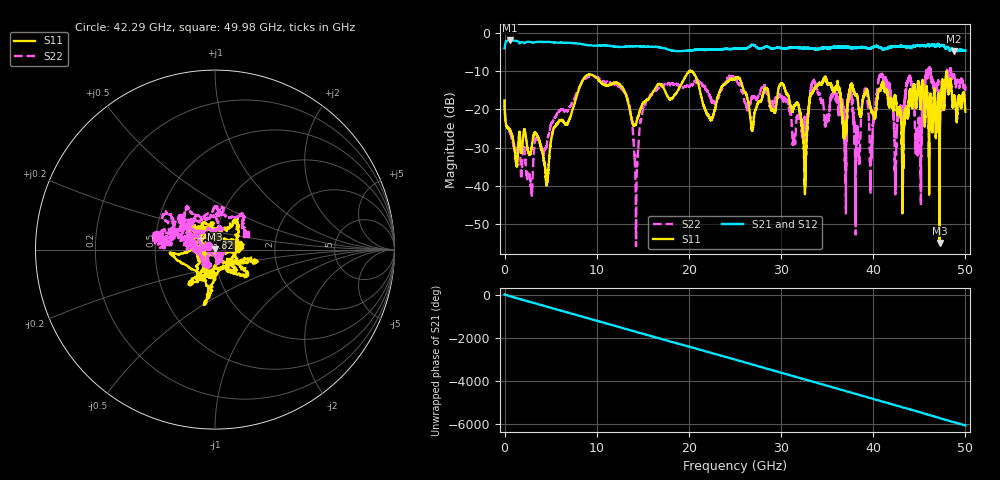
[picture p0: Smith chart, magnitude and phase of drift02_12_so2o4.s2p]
!Created with skrf (http://scikit-rf.org).
# Hz S RI R 50.0
!freq ReS11 ImS11 ReS21 ImS21 ReS12 ImS12 ReS22 ImS22
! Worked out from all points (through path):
!   10001 points, 300 kHz to 50 GHz, reference 50 ohm
!   highest |S21| = -1.99 dB at 540.3 MHz (marker M1); lowest = -4.9 dB at 48.77 GHz (marker M2)
!   group delay of S21, straight-line fit = 337 ps
!   lowest |S11| = -54.8 dB at 47.2 GHz (marker M3), VSWR 1.00, Z = 49.9 + j0.154 ohm
!   |S11| at or under -10 dB: start of sweep to 20.06 GHz; 20.20932 GHz to 20.21423 GHz (4.905 MHz wide, 0.0243 % of centre); 20.24 GHz to end of sweep (the widest 3 of 4)
!   |S22| runs from -55.7 to -8.9 dB; largest |S21 - S12| = 0.032
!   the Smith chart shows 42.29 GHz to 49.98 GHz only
!   S11 on the Smith chart (normalised r, x): 42.29 GHz: 0.92, -0.26; 43.82 GHz: 0.85, +0.11; 49.98 GHz: 1.16, -0.14
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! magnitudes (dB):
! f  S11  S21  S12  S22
! 300 kHz  -17.7  -4.0  -4.0  -17.5
! 540.3 MHz  -25.1  -2.0  -2.0  -25.8
! 4.565 GHz  -39.8  -2.4  -2.4  -29.3
! 8.335 GHz  -13.0  -2.9  -2.9  -13.2
! 13.02 GHz  -15.3  -3.6  -3.7  -15.6
! 14.28 GHz  -23.7  -3.5  -3.5  -48.4
! 16.67 GHz  -13.4  -3.7  -3.7  -14.5
! 25 GHz  -12.1  -4.1  -4.1  -12.0
! 30.18 GHz  -13.3  -4.1  -4.1  -16.9
! 32.56 GHz  -39.3  -4.0  -4.0  -24.3
! 33.34 GHz  -15.8  -4.1  -4.0  -13.7
! 37.5 GHz  -14.3  -3.9  -3.8  -15.8
! 38.28 GHz  -16.9  -4.0  -3.9  -24.9
! 41.67 GHz  -18.6  -3.8  -3.9  -12.8
! 42.29 GHz  -17.2  -3.6  -3.7  -27.3
! 43.82 GHz  -19.8  -3.6  -3.6  -12.2
! 44.99 GHz  -14.3  -3.4  -3.3  -21.8
! 45.91 GHz  -18.1  -3.2  -3.2  -10.3
! 47.2 GHz  -54.8  -3.4  -3.4  -17.0
! 48.77 GHz  -17.3  -4.9  -4.8  -11.0
! 49.98 GHz  -20.2  -4.7  -4.6  -14.3
! 50 GHz  -20.6  -4.7  -4.6  -14.6
